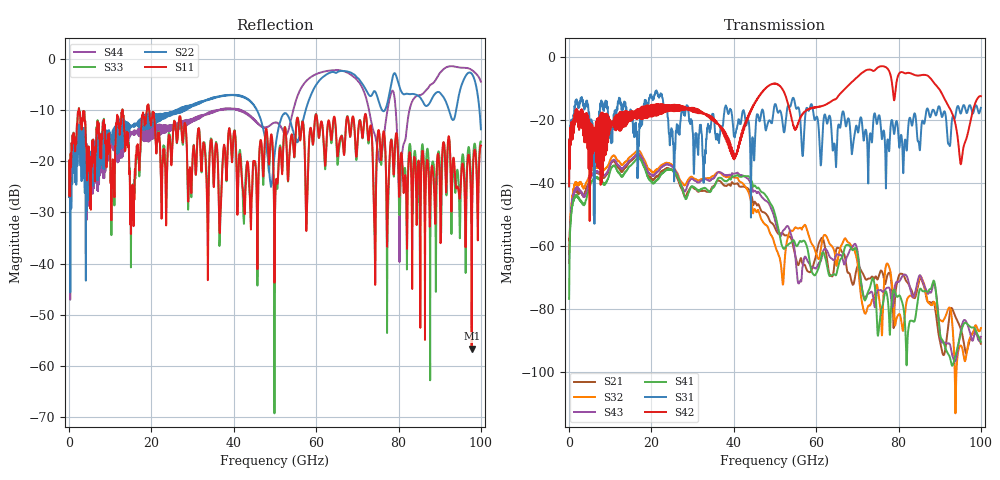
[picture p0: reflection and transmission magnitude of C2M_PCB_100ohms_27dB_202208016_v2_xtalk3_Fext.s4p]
! Info: Touchstone file created by Circ.  Input file=Intel_C2M_200G_11p5in_202208016_staggered.circ
# Hz S RI R 50
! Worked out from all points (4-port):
!   10000 points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, 10 MHz to 100 GHz, reference 50 ohm
!   strongest paths, dB at 10 MHz, 25.01 GHz, 50.01 GHz, 75.01 GHz, 100 GHz:
!     S42: -41.1, -15.6, -8.6, -3.4, -12.6
!     S31: -41.3, -24.4, -15.1, -19.7, -16.2
!     S41: -76.9, -35.9, -50.0, -88.6, -90.5
!     S43: -65.6, -34.8, -51.8, -74.1, -88.9
!     S32: -62.6, -34.3, -59.9, -74.0, -86.2
!     S21: -57.9, -36.0, -54.4, -70.5, -91.2
!   lowest |S11| = -56.6 dB at 97.76 GHz (marker M1), VSWR 1.00, Z = 50.1 - j0.0534 ohm
!   |S11| at or under -10 dB: 2.439 GHz to 12.94 GHz (10.5 GHz wide, 137 % of centre); 12.99 GHz to 18.91 GHz (5.919 GHz wide, 37.1 % of centre); 19.42 GHz to end of sweep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
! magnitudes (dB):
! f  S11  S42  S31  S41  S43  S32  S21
! 10 MHz  -26.7  -41.1  -41.3  -76.9  -65.6  -62.6  -57.9
! 1.43 GHz  -17.3  -21.6  -16.2  -44.6  -42.8  -40.6  -42.8
! 16.85 GHz  -18.5  -19.6  -27.2  -32.3  -30.8  -29.9  -31.3
! 66.21 GHz  -15.1  -11.3  -18.8  -63.9  -63.4  -59.7  -61.9
! 80.36 GHz  -21.9  -5.1  -27.1  -76.0  -71.0  -82.0  -69.0
! 97.76 GHz  -56.6  -18.7  -17.0  -86.0  -89.7  -88.5  -88.2
! 100 GHz  -16.9  -12.6  -16.2  -90.5  -88.9  -86.2  -91.2
